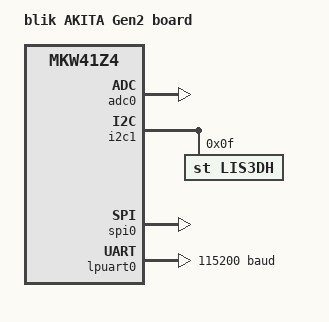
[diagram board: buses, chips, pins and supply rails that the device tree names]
/dts-v1/;

#include <nxp/nxp_kw41z.dtsi>

/ {
	model = "blik AKITA Gen2 board";
	compatible = "nxp,kw41z", "nxp,mkw41z4";

	aliases {
		adc_0 = &adc0;
		lpuart_0 = &lpuart0;
		pinmux_a = &pinmux_a;
		pinmux_b = &pinmux_b;
		pinmux_c = &pinmux_c;
		gpio_a = &gpioa;
		gpio_b = &gpiob;
		gpio_c = &gpioc;
		i2c_1 = &i2c1;
        spi_0 = &spi0;
	};

	chosen {
		zephyr,sram = &sram0;
		zephyr,flash = &flash0;
		zephyr,console = &lpuart0;
	};
};

&adc0 {
	status = "ok";
};

&i2c1 {
	status = "ok";

	lis3dh@0f {
		compatible = "st,lis3dh";
		reg = <0x0f>;
		label = "LIS3DH";
	};
};

&spi0 {
    status = "ok";
};

&lpuart0 {
	status = "ok";
	current-speed = <115200>;
};
